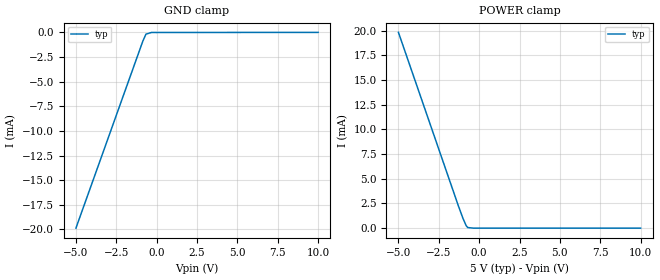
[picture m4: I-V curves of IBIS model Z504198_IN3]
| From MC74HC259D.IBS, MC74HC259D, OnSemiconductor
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| (C) COPYRIGHT 1993-2000
| MENTOR GRAPHICS CORPORATION
| ICX STANDARD LIBRARY, ICX PROJECT MODELING,
| ICX CUSTOM MODELING, ICX VENDOR MODEL
| ALL RIGHTS RESERVED.
| THE FOLLOWING ARE TRADEMARKS OR SERVICE MARKS OF
| MENTOR GRAPHICS CORPORATION:ICX (R), ICX STANDARD
| LIBRARY(R), ICX PROJECT MODELING(R), ICX CUSTOM
| MODELING(R), qualityIBIS(TM), MODELVIEWER(TM),
| AND MODELEDITOR(TM)
| ALL COPIES OF SOFTWARE, INCLUDING BUT NOT LIMITED TO
| ANY MODIFICATIONS, ENHANCEMENTS OR DERIVATIVE WORKS,
| MUST CONTAIN ALL MENTOR GRAPHICS CORPORATION'S
| NOTICES AND LEGENDS, INCLUDING THOSE EMBEDDED IN
| SOFTWARE AND THOSE AFFIXED TO SOFTWARE MEDIUM
| AND CONTAINER, AS RECEIVED FROM MENTOR GRAPHICS
| CORPORATION.
| Model Application Version 1.89 2/18/99.
[Model] Z504198_IN3
Model_type Input
Vinl = 1.000V
Vinh = 3.500V
C_comp 4.000pF NA NA
| variable typ   min   max
[Voltage Range] 5.000V NA NA
[GND Clamp Reference] 0.000V NA NA
[POWER Clamp Reference] 5.000V NA NA
[GND Clamp]
-5V       -19.87mA   NA         NA
-859.3mV  -905.4uA   NA         NA
-664.3mV  -180.8uA   NA         NA
-332.2mV  -12.41uA   NA         NA
10V       463.3nA    NA         NA
[POWER Clamp]
-5V       19.84mA    NA         NA
-1.289V   2.264mA    NA         NA
-1.003V   992.4uA    NA         NA
-811mV    272uA      NA         NA
-711mV    61.97uA    NA         NA
-355.5mV  0A         NA         NA
10V       0A         NA         NA
